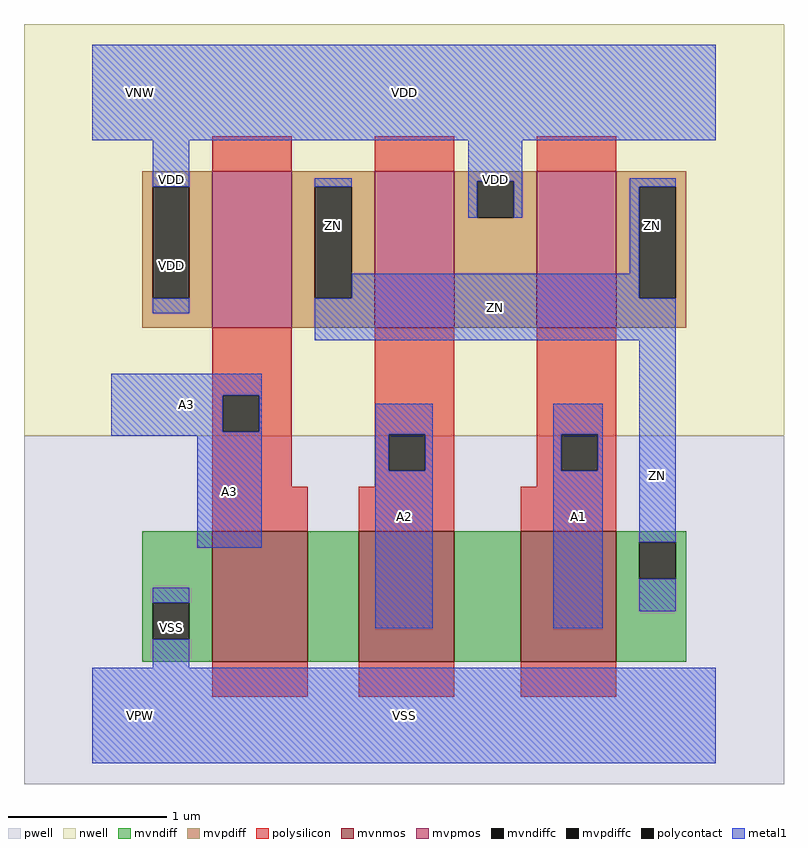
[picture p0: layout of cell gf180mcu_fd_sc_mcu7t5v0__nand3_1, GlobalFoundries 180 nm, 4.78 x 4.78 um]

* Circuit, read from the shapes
.subckt gf180mcu_fd_sc_mcu7t5v0__nand3_1 A1 A2 A3 ZN VDD VNW VPW VSS
XM1 n1 A3 VSS VPW nfet_06v0 w=0.82u l=0.6u
XM2 n2 A2 n1 VPW nfet_06v0 w=0.82u l=0.6u
XM3 ZN A1 n2 VPW nfet_06v0 w=0.82u l=0.6u
XM4 ZN A3 VDD VNW pfet_06v0 w=0.985u l=0.5u
XM5 VDD A2 ZN VNW pfet_06v0 w=0.985u l=0.5u
XM6 ZN A1 VDD VNW pfet_06v0 w=0.985u l=0.5u
.ends

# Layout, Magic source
magic
tech gf180mcuD
magscale 1 10
<< nwell >>
rect -86 352 870 870
<< pwell >>
rect -86 -86 870 352
<< mvnmos >>
rect 151 68 271 232
rect 335 68 455 232
rect 539 68 659 232
<< mvpmos >>
rect 151 488 251 685
rect 355 488 455 685
rect 559 488 659 685
<< mvndiff >>
rect 63 142 151 232
rect 63 96 76 142
rect 122 96 151 142
rect 63 68 151 96
rect 271 68 335 232
rect 455 68 539 232
rect 659 218 747 232
rect 659 172 688 218
rect 734 172 747 218
rect 659 68 747 172
<< mvpdiff >>
rect 63 665 151 685
rect 63 525 76 665
rect 122 525 151 665
rect 63 488 151 525
rect 251 665 355 685
rect 251 525 280 665
rect 326 525 355 665
rect 251 488 355 525
rect 455 672 559 685
rect 455 626 484 672
rect 530 626 559 672
rect 455 488 559 626
rect 659 665 747 685
rect 659 525 688 665
rect 734 525 747 665
rect 659 488 747 525
<< mvndiffc >>
rect 76 96 122 142
rect 688 172 734 218
<< mvpdiffc >>
rect 76 525 122 665
rect 280 525 326 665
rect 484 626 530 672
rect 688 525 734 665
<< polysilicon >>
rect 151 685 251 729
rect 355 685 455 729
rect 559 685 659 729
rect 151 403 251 488
rect 151 357 164 403
rect 210 357 251 403
rect 151 288 251 357
rect 355 354 455 488
rect 355 308 373 354
rect 419 308 455 354
rect 355 288 455 308
rect 559 354 659 488
rect 559 308 590 354
rect 636 308 659 354
rect 559 288 659 308
rect 151 232 271 288
rect 335 232 455 288
rect 539 232 659 288
rect 151 24 271 68
rect 335 24 455 68
rect 539 24 659 68
<< polycontact >>
rect 164 357 210 403
rect 373 308 419 354
rect 590 308 636 354
<< metal1 >>
rect 0 724 784 844
rect 76 665 122 724
rect 76 506 122 525
rect 280 665 326 676
rect 473 672 541 724
rect 473 626 484 672
rect 530 626 541 672
rect 676 665 734 676
rect 676 556 688 665
rect 326 525 688 556
rect 280 472 734 525
rect 24 403 213 430
rect 24 357 164 403
rect 210 357 213 403
rect 24 352 213 357
rect 132 211 213 352
rect 356 354 428 392
rect 356 308 373 354
rect 419 308 428 354
rect 76 142 122 161
rect 356 110 428 308
rect 580 354 642 392
rect 580 308 590 354
rect 636 308 642 354
rect 580 110 642 308
rect 688 218 734 472
rect 688 131 734 172
rect 76 60 122 96
rect 0 -60 784 60
<< labels >>
flabel metal1 s 24 352 213 430 0 FreeSans 400 0 0 0 A3
port 3 nsew default input
flabel metal1 s 0 724 784 844 0 FreeSans 400 0 0 0 VDD
port 5 nsew power bidirectional abutment
flabel metal1 s 76 60 122 161 0 FreeSans 400 0 0 0 VSS
port 8 nsew ground bidirectional abutment
flabel metal1 s 676 556 734 676 0 FreeSans 400 0 0 0 ZN
port 4 nsew default output
flabel metal1 s 580 110 642 392 0 FreeSans 400 0 0 0 A1
port 1 nsew default input
flabel metal1 s 356 110 428 392 0 FreeSans 400 0 0 0 A2
port 2 nsew default input
flabel nwell s 10 734 110 834 0 FreeSans 400 0 0 0 VNW
port 6 nsew power bidirectional
flabel pwell s 10 -50 110 50 0 FreeSans 400 0 0 0 VPW
port 7 nsew ground bidirectional
rlabel metal1 s 132 211 213 352 1 A3
port 3 nsew default input
rlabel metal1 s 280 556 326 676 1 ZN
port 4 nsew default output
rlabel metal1 s 280 472 734 556 1 ZN
port 4 nsew default output
rlabel metal1 s 688 131 734 472 1 ZN
port 4 nsew default output
rlabel metal1 s 473 626 541 724 1 VDD
port 5 nsew power bidirectional abutment
rlabel metal1 s 76 626 122 724 1 VDD
port 5 nsew power bidirectional abutment
rlabel metal1 s 76 506 122 626 1 VDD
port 5 nsew power bidirectional abutment
rlabel metal1 s 0 -60 784 60 1 VSS
port 8 nsew ground bidirectional abutment
<< properties >>
string FIXED_BBOX 0 0 784 784
string GDS_END 712416
string GDS_FILE $PDKPATH/libs.ref/gf180mcu_fd_sc_mcu7t5v0/gds/gf180mcu_fd_sc_mcu7t5v0.gds
string GDS_START 709456
string LEFclass core
string LEFsite GF018hv5v_mcu_sc7
string LEFsymmetry X Y
<< end >>
